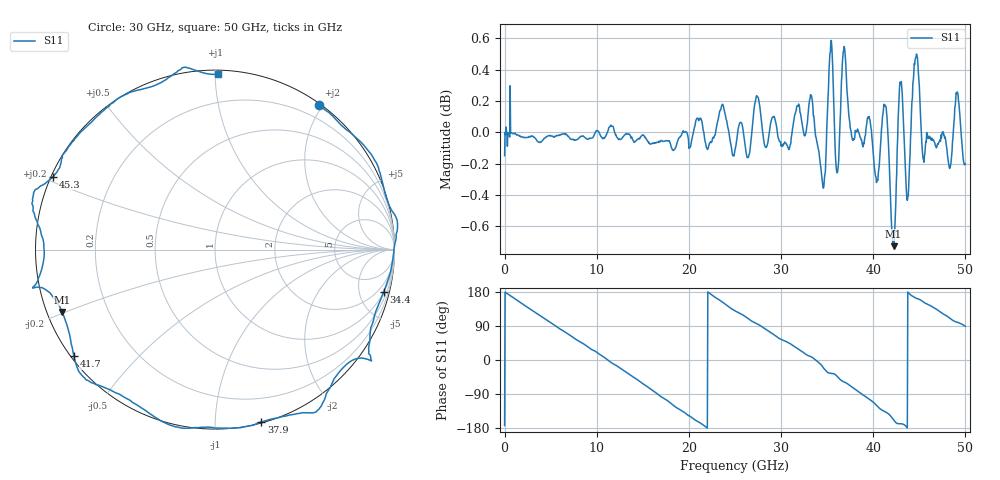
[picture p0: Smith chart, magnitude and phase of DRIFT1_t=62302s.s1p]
!Created with skrf (http://scikit-rf.org).
# Hz S RI R 50.0
!freq ReS11 ImS11
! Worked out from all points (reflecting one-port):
!   1001 points, 300 kHz to 50 GHz, reference 50 ohm
!   lowest |S11| = -0.7 dB at 42.2 GHz (marker M1), VSWR 23.90, Z = 2.17 - j9.77 ohm
!   phase of S11 starts at -173 deg and turns -818 deg over the sweep
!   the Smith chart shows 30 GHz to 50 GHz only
!   S11 on the Smith chart (normalised r, x): 30 GHz: 0.02, +1.95; 34.4 GHz: 1.04, -7.96; 37.9 GHz: 0.01, -1.30; 41.7 GHz: 0.01, -0.33; 45.3 GHz: 0.01, +0.22; 50 GHz: 0.02, +1.02
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300000  -0.9756 -0.1195
1.450291e9  -0.9126 0.4041
3.25028e9  -0.593 0.8004
6.250262e9  0.1994 0.9787
9.500243e9  0.8886 0.4494
1.250022e10  0.931 -0.351
1.580021e10  0.2417 -0.9614
1.73502e10  -0.2106 -0.9709
1.875019e10  -0.5983 -0.7927
2.160017e10  -0.9915 -0.1339
2.345016e10  -0.9294 0.4124
2.500015e10  -0.6301 0.76
2.745014e10  -0.0848 1.023
3.000012e10  0.5779 0.8038
3.125011e10  0.7829 0.6268
3.31501e10  1.011 0.1729
3.440009e10  0.9395 -0.2357
3.520009e10  0.8657 -0.5887
3.750008e10  0.3771 -0.9299
3.790007e10  0.2581 -0.9612
3.960006e10  -0.2381 -0.9813
4.170005e10  -0.7866 -0.5912
4.220005e10  -0.8518 -0.3468
4.290004e10  -1.015 -0.214
4.375004e10  -0.9533 0.0105
4.530003e10  -0.9014 0.4065
4.765001e10  -0.5099 0.8578
5e10  0.0194 0.9769
